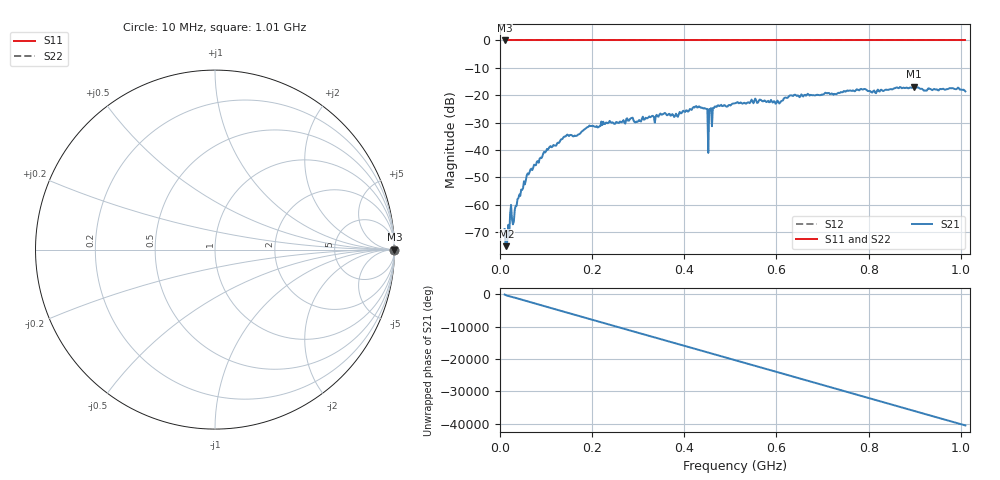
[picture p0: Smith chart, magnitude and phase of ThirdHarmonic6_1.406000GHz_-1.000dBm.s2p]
! 8/16/2025 4:06:05 PM
! C:\ANRITSUVNA\TEMP\TEMP.S2P
! CHANNEL.1
! TR.MEASUREMENT
! RAW.DATA
! RF.CORRECTION.OFF
! AVERAGING.OFF
! IF.BANDWIDTH: 5KHZ
! SWEEPTYPE:  FREQ.SWEEP(Linear)
! Reference Plane Port Info
! PORT:  PORT1  PORT2
! DISTANCE:  0  m  0  m
! TIME:  0  s  0  s
! PHASE.OFFSET:  0  deg.  0  deg.
! LOSS:  0  dB  0  dB
! REF.LOSS:  0  dB  0  dB
! REF.FREQ:  0  Hz  0  Hz
! Power Info
! POWER:  -20  dBm  -20  dBm
! EFF.POWER:  -20  dBm  -20  dBm
! SOURCE.ATTEN:  0  dB  0  dB
! TEST.ATTEN:  0  dB  0  dB
# GHZ S RI R 50.0
! FREQ.GHZ  S11RE  S11IM  S21RE  S21IM  S12RE  S12IM  S22RE  S22IM
!; PortSelection: Port_12
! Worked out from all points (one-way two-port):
!   501 points, 10 MHz to 1.01 GHz, reference 50 ohm
!   highest |S21| = -16.93 dB at 898 MHz (marker M1); lowest = -75.1 dB at 14 MHz (marker M2)
!   lowest |S11| = 0.0 dB at 10 MHz (marker M3)
!   |S11| at or under -10 dB: nowhere
!   |S22| runs from 0.0 to 0.0 dB; largest |S21 - S12| = 1.1
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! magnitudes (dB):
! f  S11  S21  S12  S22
! 10 MHz  0.0  -68.8  0.0  0.0
! 14 MHz  0.0  -75.1  0.0  0.0
! 16 MHz  0.0  -73.0  0.0  0.0
! 22 MHz  0.0  -63.2  0.0  0.0
! 30 MHz  0.0  -66.2  0.0  0.0
! 42 MHz  0.0  -56.3  0.0  0.0
! 64 MHz  0.0  -48.2  0.0  0.0
! 106 MHz  0.0  -39.3  0.0  0.0
! 178 MHz  0.0  -33.2  0.0  0.0
! 344 MHz  0.0  -27.8  0.0  0.0
! 382 MHz  0.0  -26.7  0.0  0.0
! 428 MHz  0.0  -24.5  0.0  0.0
! 446 MHz  0.0  -24.9  0.0  0.0
! 448 MHz  0.0  -25.0  0.0  0.0
! 456 MHz  0.0  -25.2  0.0  0.0
! 458 MHz  0.0  -24.7  0.0  0.0
! 466 MHz  0.0  -24.1  0.0  0.0
! 510 MHz  0.0  -22.9  0.0  0.0
! 678 MHz  0.0  -20.0  0.0  0.0
! 844 MHz  0.0  -17.9  0.0  0.0
! 898 MHz  0.0  -16.9  0.0  0.0
! 1.01 GHz  0.0  -18.6  0.0  0.0
